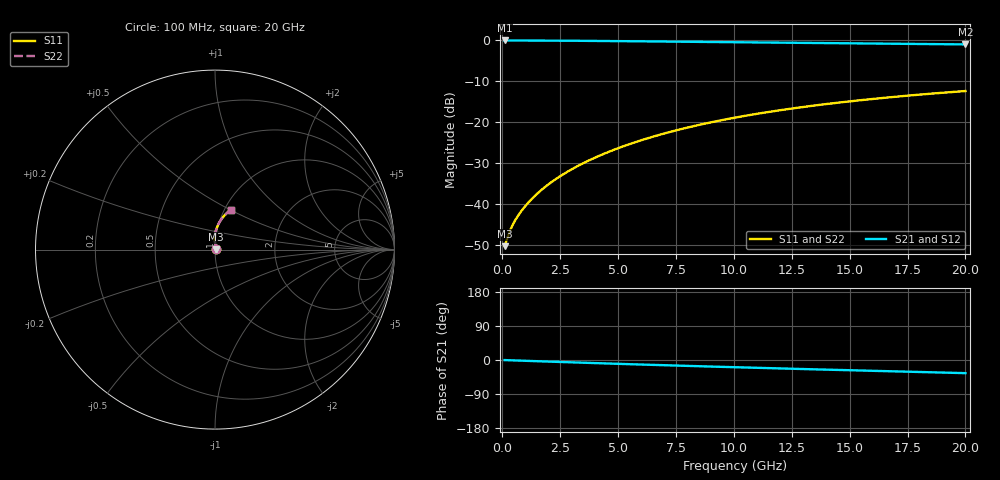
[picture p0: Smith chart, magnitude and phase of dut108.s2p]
! Touchstone file exported from HFSS 2024.1.0
!  File:  C:/UserFiles/LocalFiles/RDL_TSV_Batchsim/temp_RDL_bottom_108_1778695462.aedt
!  Generated:  02:07:06 AM May 14, 2026
!  Design:  RDL_bottom
!  Project:  temp_RDL_bottom_108_1778695462
!  Setup:  Setup1
!  Solution:  Sweep
! Variables:
!  dtsv = 10.80580581um
!  hbump = 3um
!  htsv = 95.86um
!  ldown = 543.12um
!  lrdl = 100um
!  p = 40
!  p1 = 43.37um
!  rhole = 1um
!  t = 450um
!  tdown = 2.71um
!  trdl = 3.915915916um
!  wdown = 28.08um
!  wrdl = 20um
# GHz S MA R 50.000000
! Terminal data exported
! Port[1] = RDL1_T1
! Port[2] = RDL1_T2
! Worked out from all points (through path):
!   200 points, 100 MHz to 20 GHz, reference 50 ohm
!   highest |S21| = -0.02 dB at 100 MHz (marker M1); lowest = -1.0 dB at 20 GHz (marker M2)
!   group delay of S21, straight-line fit = 4.75 ps
!   lowest |S11| = -50.3 dB at 100 MHz (marker M3), VSWR 1.01, Z = 50.3 + j0.113 ohm
!   |S11| at or under -10 dB: start of sweep to end of sweep
!   |S22| runs from -50.3 to -12.4 dB; largest |S21 - S12| = 4e-15
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0.1  0.003067 21.5  0.9971 -0.2  0.9971 -0.2  0.003067 21.5
! Gamma 0 0 0 0
! Port Impedance 50 0 50 0
0.3  0.004471 44.3  0.9967 -0.7  0.9967 -0.7  0.004471 44.3
0.4  0.005221 49.9  0.9964 -0.9  0.9964 -0.9  0.005222 49.9
0.5  0.005947 54.1  0.9962 -1.1  0.9962 -1.1  0.005947 54.1
0.6  0.006657 57.5  0.996 -1.3  0.996 -1.3  0.006657 57.5
0.8  0.008071 63.2  0.9956 -1.7  0.9956 -1.7  0.008071 63.2
1  0.009518 67.7  0.9952 -2.1  0.9952 -2.1  0.009518 67.7
1.2  0.01101 71.4  0.9948 -2.5  0.9948 -2.5  0.01101 71.4
1.7  0.01498 78.0  0.9936 -3.6  0.9936 -3.6  0.01498 78.0
2.2  0.01925 82.4  0.9921 -4.6  0.9921 -4.6  0.01925 82.4
2.8  0.02474 85.9  0.9899 -5.8  0.9899 -5.8  0.02474 85.9
3.5  0.03166 88.6  0.9868 -7.2  0.9868 -7.2  0.03166 88.6
4.2  0.03909 90.2  0.9833 -8.6  0.9833 -8.6  0.0391 90.2
5  0.04817 91.0  0.979 -10.1  0.979 -10.1  0.04818 91.1
5.9  0.05902 91.2  0.9737 -11.8  0.9737 -11.8  0.05903 91.2
6.8  0.0704 90.7  0.9682 -13.5  0.9682 -13.5  0.07042 90.8
8.4  0.09152 88.9  0.9582 -16.3  0.9582 -16.3  0.09154 89.0
10.1  0.1145 86.2  0.9476 -19.2  0.9476 -19.2  0.1146 86.3
11.7  0.1363 83.4  0.938 -21.8  0.938 -21.8  0.1363 83.4
13.4  0.159 80.1  0.9281 -24.5  0.9281 -24.5  0.1591 80.2
16.7  0.2013 73.9  0.9097 -29.7  0.9097 -29.7  0.2014 73.9
20  0.2406 67.9  0.8922 -34.7  0.8922 -34.7  0.2407 68.0
